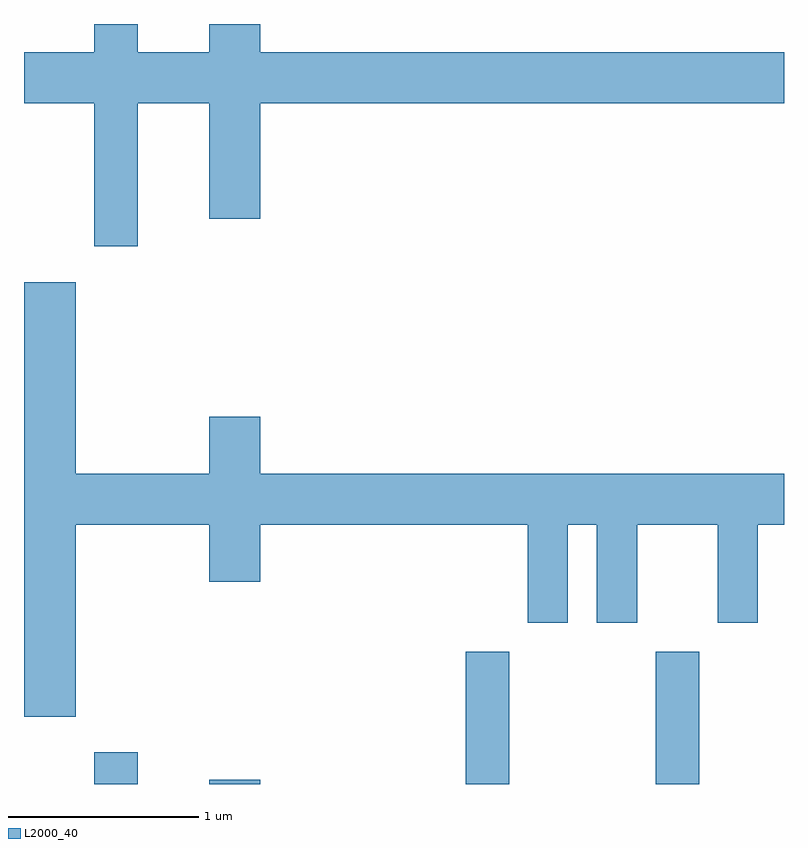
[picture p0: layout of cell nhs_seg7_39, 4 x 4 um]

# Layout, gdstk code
import gdstk
lib = gdstk.Library(unit=1e-6, precision=1e-09)
def R(c, l, rs):  # rectangles x0, y0, x1, y1
    for r in rs: c.add(gdstk.rectangle(r[:2], r[2:], *l))
def P(c, l, *ps):  # polygons
    for p in ps: c.add(gdstk.Polygon(p, *l))
L2000_40 = (2000, 40)

nhs_seg7_39 = lib.new_cell('nhs_seg7_39')
R(nhs_seg7_39, L2000_40, [(185.981,1746.252,186.209,1746.419), (186.586,1746.252,186.854,1746.274), (187.936,1746.252,188.164,1746.949), (188.936,1746.252,189.164,1746.949)])
P(nhs_seg7_39, L2000_40, [(186.209,1749.836),(186.586,1749.836),(186.586,1749.226),(186.854,1749.226),(186.854,1749.836),(189.611,1749.836),(189.611,1750.104),(186.854,1750.104),(186.854,1750.252),(186.586,1750.252),(186.586,1750.104),(186.209,1750.104),(186.209,1750.252),(185.981,1750.252),(185.981,1750.104),(185.611,1750.104),(185.611,1749.836),(185.981,1749.836),(185.981,1749.081),(186.209,1749.081)],
  [(185.884,1747.616),(186.586,1747.616),(186.586,1747.316),(186.854,1747.316),(186.854,1747.616),(188.261,1747.616),(188.261,1747.101),(188.474,1747.101),(188.474,1747.616),(188.626,1747.616),(188.626,1747.101),(188.839,1747.101),(188.839,1747.616),(189.261,1747.616),(189.261,1747.101),(189.474,1747.101),(189.474,1747.616),(189.611,1747.616),(189.611,1747.884),(186.854,1747.884),(186.854,1748.184),(186.586,1748.184),(186.586,1747.884),(185.884,1747.884),(185.884,1748.894),(185.611,1748.894),(185.611,1746.606),(185.884,1746.606)])

lib.write_gds('nhs_seg7_39.gds')
